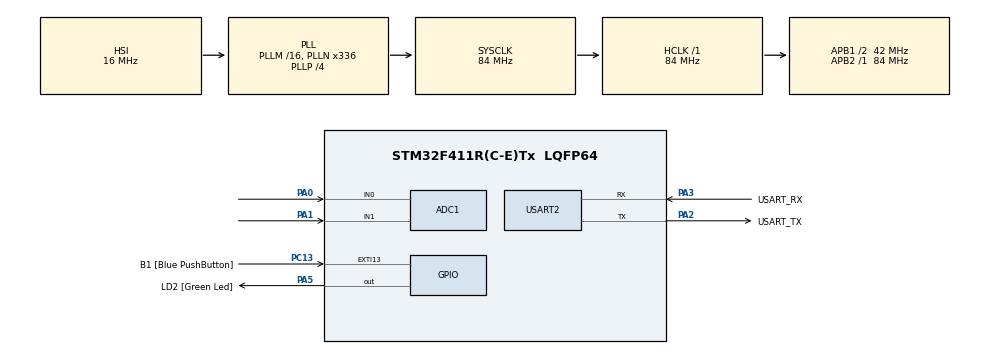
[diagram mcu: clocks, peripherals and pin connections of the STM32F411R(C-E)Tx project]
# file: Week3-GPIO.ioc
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ADC1.Channel-0\#ChannelRegularConversion=ADC_CHANNEL_TEMPSENSOR
ADC1.NbrOfConversionFlag=1
ADC1.Rank-0\#ChannelRegularConversion=1
ADC1.SamplingTime-0\#ChannelRegularConversion=ADC_SAMPLETIME_3CYCLES
ADC1.master=1
Mcu.Family=STM32F4
Mcu.Name=STM32F411R(C-E)Tx
Mcu.Package=LQFP64
NVIC.PriorityGroup=NVIC_PRIORITYGROUP_0
PA0-WKUP.Signal=ADCx_IN0
PA1.Signal=ADCx_IN1
PA13.GPIO_Label=TMS
PA13.Mode=Serial_Wire
PA13.Signal=SYS_JTMS-SWDIO
PA14.GPIO_Label=TCK
PA14.Mode=Serial_Wire
PA14.Signal=SYS_JTCK-SWCLK
PA2.GPIO_Label=USART_TX
PA2.Mode=Asynchronous
PA2.Signal=USART2_TX
PA3.GPIO_Label=USART_RX
PA3.Mode=Asynchronous
PA3.Signal=USART2_RX
PA5.GPIO_Label=LD2 [Green Led]
PA5.Signal=GPIO_Output
PB3.GPIO_Label=SWO
PB3.Signal=SYS_JTDO-SWO
PC13-ANTI_TAMP.GPIO_Label=B1 [Blue PushButton]
PC13-ANTI_TAMP.GPIO_ModeDefaultEXTI=GPIO_MODE_IT_FALLING
PC13-ANTI_TAMP.Signal=GPXTI13
PC14-OSC32_IN.Mode=LSE-External-Oscillator
PC14-OSC32_IN.Signal=RCC_OSC32_IN
PC15-OSC32_OUT.Mode=LSE-External-Oscillator
PC15-OSC32_OUT.Signal=RCC_OSC32_OUT
PH0\ -\ OSC_IN.Mode=HSE-External-Clock-Source
PH0\ -\ OSC_IN.Signal=RCC_OSC_IN
PH1\ -\ OSC_OUT.Mode=HSE-External-Clock-Source
PH1\ -\ OSC_OUT.Signal=RCC_OSC_OUT
ProjectManager.HeapSize=0x200
ProjectManager.StackSize=0x400
ProjectManager.TargetToolchain=STM32CubeIDE
RCC.48MHZClocksFreq_Value=84000000
RCC.AHBFreq_Value=84000000
RCC.APB1CLKDivider=RCC_HCLK_DIV2
RCC.APB1Freq_Value=42000000
RCC.APB1TimFreq_Value=84000000
RCC.APB2Freq_Value=84000000
RCC.APB2TimFreq_Value=84000000
RCC.CortexFreq_Value=84000000
RCC.FLatency-AdvancedSettings=FLASH_LATENCY_2
RCC.HCLKFreq_Value=84000000
RCC.HSE_VALUE=8000000
RCC.HSI_VALUE=16000000
RCC.PLLN=336
RCC.PLLP=RCC_PLLP_DIV4
RCC.SYSCLKFreq_VALUE=84000000
RCC.SYSCLKSource=RCC_SYSCLKSOURCE_PLLCLK
RCC.VCOOutputFreq_Value=336000000
SH.ADCx_IN0.0=ADC1_IN0,IN0
SH.ADCx_IN1.0=ADC1_IN1,IN1
USART2.VirtualMode=VM_ASYNC
VP_ADC1_TempSens_Input.Mode=IN-TempSens
board=NUCLEO-F411RE

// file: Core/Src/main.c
/* USER CODE BEGIN Header */
/**
  ******************************************************************************
  * @file           : main.c
  * @brief          : Main program body
  ******************************************************************************
  * @attention
  *
  * <h2><center>&copy; Copyright (c) 2021 STMicroelectronics.
  * All rights reserved.</center></h2>
  *
  * This software component is licensed by ST under BSD 3-Clause license,
  * the "License"; You may not use this file except in compliance with the
  * License. You may obtain a copy of the License at:
  *                        opensource.org/licenses/BSD-3-Clause
  *
  ******************************************************************************
  */
/* USER CODE END Header */
#include "main.h"

ADC_HandleTypeDef hadc1;

UART_HandleTypeDef huart2;

/* USER CODE BEGIN PV */
typedef struct
{
	ADC_ChannelConfTypeDef Config;
	uint32_t Data;
} ADCStructure;

ADCStructure  ADCChannel[2] = {0};

uint8_t ADCMode = 0;
GPIO_PinState SwitchState[2];

float ADCOutputConverted = 0.0;

/* USER CODE END PV */

void SystemClock_Config(void);
static void MX_GPIO_Init(void);
static void MX_USART2_UART_Init(void);
static void MX_ADC1_Init(void);
/* USER CODE BEGIN PFP */
void ADCPollingMethodInit(); // init config
void ADCPollingMethodUpdate(); /// read ADC from 3 source

/* USER CODE END PFP */

int main(void)
{

  /* MCU Configuration--------------------------------------------------------*/

  /* Reset of all peripherals, Initializes the Flash interface and the Systick. */
  HAL_Init();

  /* Configure the system clock */
  SystemClock_Config();

  /* Initialize all configured peripherals */
  MX_GPIO_Init();
  MX_USART2_UART_Init();
  MX_ADC1_Init();
  /* USER CODE BEGIN 2 */
  ADCPollingMethodInit();
  /* USER CODE END 2 */

  /* Infinite loop */
  while (1)
  {

    /* USER CODE BEGIN 3 */
	  ADCPollingMethodUpdate();
	  SwitchState[0] = HAL_GPIO_ReadPin(GPIOC, GPIO_PIN_13);

	  if(SwitchState[1] == GPIO_PIN_SET && SwitchState[0] == GPIO_PIN_RESET)
	  {
		  if (ADCMode == 0)
		  {
			  ADCMode = 1;
		  }
		  else if (ADCMode == 1)
		  {
		  	  ADCMode = 0;
		  }
	  }

	  SwitchState[1] = SwitchState[0];

	  if (ADCMode == 0)
	  {
		  ADCOutputConverted = ADCChannel[0].Data*0.805;           /// 2^16 = 4096 channel -> 3300 / 4096 = 0.805 milli Volt per channel
	  }
	  else if (ADCMode == 1)
	  {
		  ADCOutputConverted = (((ADCChannel[1].Data*0.805)  - 760.0 )/2.5) + 25.0 ;  // Voltage/slope(Voltage/Temp) equal to temp
	  }

  }
  /* USER CODE END 3 */
}

void SystemClock_Config(void)
{
  RCC_OscInitTypeDef RCC_OscInitStruct = {0};
  RCC_ClkInitTypeDef RCC_ClkInitStruct = {0};

  /** Configure the main internal regulator output voltage
  */
  __HAL_RCC_PWR_CLK_ENABLE();
  __HAL_PWR_VOLTAGESCALING_CONFIG(PWR_REGULATOR_VOLTAGE_SCALE1);
  /** Initializes the RCC Oscillators according to the specified parameters
  * in the RCC_OscInitTypeDef structure.
  */
  RCC_OscInitStruct.OscillatorType = RCC_OSCILLATORTYPE_HSI;
  RCC_OscInitStruct.HSIState = RCC_HSI_ON;
  RCC_OscInitStruct.HSICalibrationValue = RCC_HSICALIBRATION_DEFAULT;
  RCC_OscInitStruct.PLL.PLLState = RCC_PLL_ON;
  RCC_OscInitStruct.PLL.PLLSource = RCC_PLLSOURCE_HSI;
  RCC_OscInitStruct.PLL.PLLM = 16;
  RCC_OscInitStruct.PLL.PLLN = 336;
  RCC_OscInitStruct.PLL.PLLP = RCC_PLLP_DIV4;
  RCC_OscInitStruct.PLL.PLLQ = 4;
  if (HAL_RCC_OscConfig(&RCC_OscInitStruct) != HAL_OK)
  {
    Error_Handler();
  }
  /** Initializes the CPU, AHB and APB buses clocks
  */
  RCC_ClkInitStruct.ClockType = RCC_CLOCKTYPE_HCLK|RCC_CLOCKTYPE_SYSCLK
                              |RCC_CLOCKTYPE_PCLK1|RCC_CLOCKTYPE_PCLK2;
  RCC_ClkInitStruct.SYSCLKSource = RCC_SYSCLKSOURCE_PLLCLK;
  RCC_ClkInitStruct.AHBCLKDivider = RCC_SYSCLK_DIV1;
  RCC_ClkInitStruct.APB1CLKDivider = RCC_HCLK_DIV2;
  RCC_ClkInitStruct.APB2CLKDivider = RCC_HCLK_DIV1;

  if (HAL_RCC_ClockConfig(&RCC_ClkInitStruct, FLASH_LATENCY_2) != HAL_OK)
  {
    Error_Handler();
  }
}

static void MX_ADC1_Init(void)
{

  ADC_ChannelConfTypeDef sConfig = {0};

  /** Configure the global features of the ADC (Clock, Resolution, Data Alignment and number of conversion)
  */
  hadc1.Instance = ADC1;
  hadc1.Init.ClockPrescaler = ADC_CLOCK_SYNC_PCLK_DIV4;
  hadc1.Init.Resolution = ADC_RESOLUTION_12B;
  hadc1.Init.ScanConvMode = DISABLE;
  hadc1.Init.ContinuousConvMode = DISABLE;
  hadc1.Init.DiscontinuousConvMode = DISABLE;
  hadc1.Init.ExternalTrigConvEdge = ADC_EXTERNALTRIGCONVEDGE_NONE;
  hadc1.Init.ExternalTrigConv = ADC_SOFTWARE_START;
  hadc1.Init.DataAlign = ADC_DATAALIGN_RIGHT;
  hadc1.Init.NbrOfConversion = 1;
  hadc1.Init.DMAContinuousRequests = DISABLE;
  hadc1.Init.EOCSelection = ADC_EOC_SINGLE_CONV;
  if (HAL_ADC_Init(&hadc1) != HAL_OK)
  {
    Error_Handler();
  }
  /** Configure for the selected ADC regular channel its corresponding rank in the sequencer and its sample time.
  */
  sConfig.Channel = ADC_CHANNEL_TEMPSENSOR;
  sConfig.Rank = 1;
  sConfig.SamplingTime = ADC_SAMPLETIME_3CYCLES;
  if (HAL_ADC_ConfigChannel(&hadc1, &sConfig) != HAL_OK)
  {
    Error_Handler();
  }

}

static void MX_USART2_UART_Init(void)
{

  huart2.Instance = USART2;
  huart2.Init.BaudRate = 115200;
  huart2.Init.WordLength = UART_WORDLENGTH_8B;
  huart2.Init.StopBits = UART_STOPBITS_1;
  huart2.Init.Parity = UART_PARITY_NONE;
  huart2.Init.Mode = UART_MODE_TX_RX;
  huart2.Init.HwFlowCtl = UART_HWCONTROL_NONE;
  huart2.Init.OverSampling = UART_OVERSAMPLING_16;
  if (HAL_UART_Init(&huart2) != HAL_OK)
  {
    Error_Handler();
  }

}

static void MX_GPIO_Init(void)
{
  GPIO_InitTypeDef GPIO_InitStruct = {0};

  /* GPIO Ports Clock Enable */
  __HAL_RCC_GPIOC_CLK_ENABLE();
  __HAL_RCC_GPIOH_CLK_ENABLE();
  __HAL_RCC_GPIOA_CLK_ENABLE();
  __HAL_RCC_GPIOB_CLK_ENABLE();

  /*Configure GPIO pin Output Level */
  HAL_GPIO_WritePin(LD2_GPIO_Port, LD2_Pin, GPIO_PIN_RESET);

  /*Configure GPIO pin : B1_Pin */
  GPIO_InitStruct.Pin = B1_Pin;
  GPIO_InitStruct.Mode = GPIO_MODE_IT_FALLING;
  GPIO_InitStruct.Pull = GPIO_NOPULL;
  HAL_GPIO_Init(B1_GPIO_Port, &GPIO_InitStruct);

  /*Configure GPIO pin : LD2_Pin */
  GPIO_InitStruct.Pin = LD2_Pin;
  GPIO_InitStruct.Mode = GPIO_MODE_OUTPUT_PP;
  GPIO_InitStruct.Pull = GPIO_NOPULL;
  GPIO_InitStruct.Speed = GPIO_SPEED_FREQ_LOW;
  HAL_GPIO_Init(LD2_GPIO_Port, &GPIO_InitStruct);

}

/* USER CODE BEGIN 4 */

void ADCPollingMethodInit()
	{
	//PA0 - ADC IN0
	ADCChannel[0].Config.Channel = ADC_CHANNEL_0;
	ADCChannel[0].Config.Rank = 1;
	ADCChannel[0].Config.SamplingTime = ADC_SAMPLETIME_3CYCLES;

	ADCChannel[1].Config.Channel = ADC_CHANNEL_TEMPSENSOR;
	ADCChannel[1].Config.Rank = 1;
	ADCChannel[1].Config.SamplingTime = ADC_SAMPLETIME_3CYCLES;

	}

void ADCPollingMethodUpdate()
{

	//select channel
	HAL_ADC_ConfigChannel(&hadc1, &ADCChannel[ADCMode].Config);

	//ADC Sampling , Convert
	HAL_ADC_Start(&hadc1);
	//Wait ADC
	if(HAL_ADC_PollForConversion(&hadc1, 10) == HAL_OK)
	{
		//Get Value
		ADCChannel[ADCMode].Data =  HAL_ADC_GetValue(&hadc1);
	}
	//Stop
	HAL_ADC_Stop(&hadc1);

}

/* USER CODE END 4 */

void Error_Handler(void)
{
  __disable_irq();
  while (1)
  {
  }
}

/************************ (C) COPYRIGHT STMicroelectronics *****END OF FILE****/
